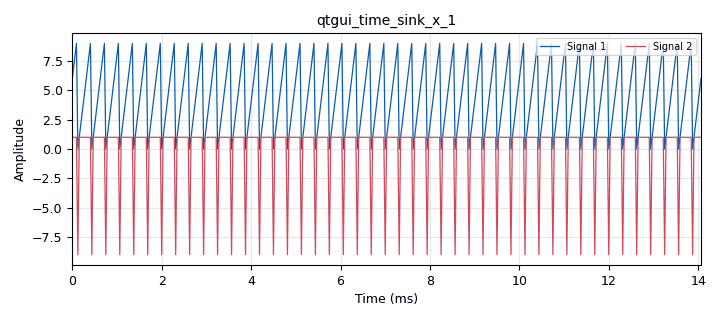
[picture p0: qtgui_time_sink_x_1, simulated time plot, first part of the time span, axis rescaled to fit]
options:
  parameters:
    author: Brayan David
    generate_options: qt_gui
    id: untitled
    output_language: python
    title: Not titled yet
  states: {}

blocks:
- name: samp_rate
  id: variable
  parameters:
    value: '32000'
  states: {}
- name: blocks_throttle2_0
  id: blocks_throttle2
  parameters:
    samples_per_second: samp_rate
    type: float
  states: {}
- name: blocks_vector_source_x_0_0
  id: blocks_vector_source_x
  parameters:
    repeat: 'True'
    type: float
    vector: (0.0, 1.0, 2.0, 3.0, 4.0, 5.0, 6.0, 7.0, 8.0, 9.0)
  states: {}
- name: epy_block_1
  id: epy_block
  parameters:
    _source_code: |-
      import numpy as np
      from gnuradio import gr

      class blk(gr.sync_block):
          def __init__(self):
              gr.sync_block.__init__(
                  self,
                  name='e_Diff',
                  in_sig=[np.float32],
                  out_sig=[np.float32]
              )

              self.muestra_anterior = 0

          def work(self, input_items, output_items):
              x = input_items[0]
              y0 = output_items[0]

              # Calcula la diferencia punto a punto en el bloque actual
              y0[0] = x[0] - self.muestra_anterior
              y0[1:] = np.diff(x)

              # Guarda la última muestra del bloque para el siguiente llamado
              self.muestra_anterior = x[-1]

              return len(y0)
  states: {}
- name: qtgui_time_sink_x_1
  id: qtgui_time_sink_x
  parameters:
    nconnections: '2'
    size: '1024'
    srate: samp_rate
    type: float
  states: {}

connections:
- [blocks_throttle2_0, '0', qtgui_time_sink_x_1, '1']
- [blocks_vector_source_x_0_0, '0', epy_block_1, '0']
- [blocks_vector_source_x_0_0, '0', qtgui_time_sink_x_1, '0']
- [epy_block_1, '0', blocks_throttle2_0, '0']

metadata:
  file_format: 1
  grc_version: 3.10.12.0
